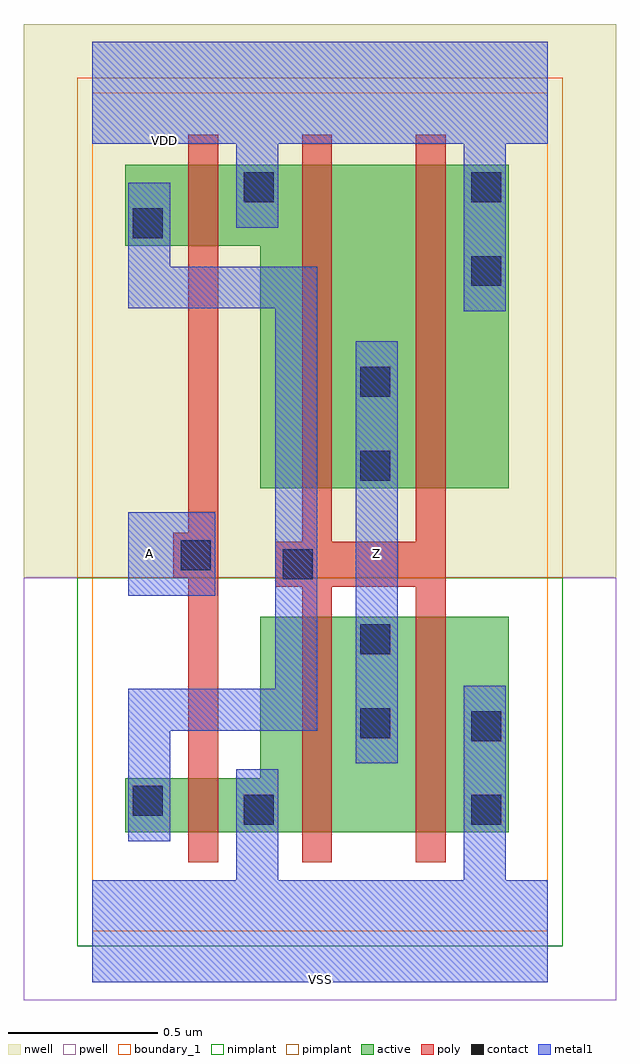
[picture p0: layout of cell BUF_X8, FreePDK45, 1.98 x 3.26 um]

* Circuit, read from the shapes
.subckt BUF_X8 A VDD VSS Z
M1 VSS A n1 VSUBS nfet w=0.18u l=0.1u
M2 Z n1 VSS VSUBS nfet w=0.72u l=0.1u m=2
M3 VDD A n1 n2 pfet w=0.27u l=0.1u
M4 Z n1 VDD n2 pfet w=1.08u l=0.1u m=2
.ends

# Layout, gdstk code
import gdstk
lib = gdstk.Library(unit=1e-6, precision=1e-09)
def R(c, l, rs):  # rectangles x0, y0, x1, y1
    for r in rs: c.add(gdstk.rectangle(r[:2], r[2:], *l))
def P(c, l, *ps):  # polygons
    for p in ps: c.add(gdstk.Polygon(p, *l))
active = (1, 0)
pwell = (2, 0)
nwell = (3, 0)
nimplant = (4, 0)
pimplant = (5, 0)
poly = (9, 0)
contact = (10, 0)
metal1 = (11, 0)
boundary_1 = (235, 1)

buf_x8 = lib.new_cell('BUF_X8')
P(buf_x8, active, [(0.11,2.29),(0.56,2.29),(0.56,1.48),(1.39,1.48),(1.39,2.56),(0.11,2.56)],
  [(0.11,0.33),(1.39,0.33),(1.39,1.05),(0.56,1.05),(0.56,0.51),(0.11,0.51)])
R(buf_x8, pwell, [(-0.23,-0.23,1.75,1.18)])
R(buf_x8, nwell, [(-0.23,1.18,1.75,3.03)])
R(buf_x8, nimplant, [(-0.05,-0.05,1.57,1.18)])
R(buf_x8, pimplant, [(-0.05,1.18,1.57,2.85)])
P(buf_x8, poly, [(0.61,1.15),(0.7,1.15),(0.7,0.23),(0.8,0.23),(0.8,1.15),(1.08,1.15),(1.08,0.23),(1.18,0.23),(1.18,2.66),(1.08,2.66),(1.08,1.3),(0.8,1.3),(0.8,2.66),(0.7,2.66),(0.7,1.3),(0.61,1.3)],
  [(0.27,1.18),(0.32,1.18),(0.32,0.23),(0.42,0.23),(0.42,2.66),(0.32,2.66),(0.32,1.33),(0.27,1.33)])
R(buf_x8, contact, [(0.505,0.355,0.605,0.455), (1.265,0.355,1.365,0.455), (0.135,0.385,0.235,0.485), (1.265,0.635,1.365,0.735), (0.895,0.645,0.995,0.745), (0.895,0.925,0.995,1.025), (0.635,1.175,0.735,1.275), (0.295,1.205,0.395,1.305), (0.895,1.505,0.995,1.605), (0.895,1.785,0.995,1.885), (1.265,2.155,1.365,2.255), (0.135,2.315,0.235,2.415), (0.505,2.435,0.605,2.535), (1.265,2.435,1.365,2.535)])
R(buf_x8, metal1, [(0.88,0.56,1.02,1.97), (0.88,0.56,1.02,1.97), (0.12,1.12,0.41,1.4), (0.12,1.12,0.41,1.4)])
P(buf_x8, metal1, [(0,-0.17),(1.52,-0.17),(1.52,0.17),(1.38,0.17),(1.38,0.82),(1.24,0.82),(1.24,0.17),(0.62,0.17),(0.62,0.54),(0.48,0.54),(0.48,0.17),(0,0.17)],
  [(0,2.63),(0.48,2.63),(0.48,2.35),(0.62,2.35),(0.62,2.63),(1.24,2.63),(1.24,2.07),(1.38,2.07),(1.38,2.63),(1.52,2.63),(1.52,2.97),(0,2.97)],
  [(0,2.63),(0.48,2.63),(0.48,2.35),(0.62,2.35),(0.62,2.63),(1.24,2.63),(1.24,2.07),(1.38,2.07),(1.38,2.63),(1.52,2.63),(1.52,2.97),(0,2.97)],
  [(0,-0.17),(1.52,-0.17),(1.52,0.17),(1.38,0.17),(1.38,0.82),(1.24,0.82),(1.24,0.17),(0.62,0.17),(0.62,0.54),(0.48,0.54),(0.48,0.17),(0,0.17)],
  [(0.12,2.08),(0.61,2.08),(0.61,0.81),(0.12,0.81),(0.12,0.3),(0.26,0.3),(0.26,0.67),(0.75,0.67),(0.75,2.22),(0.26,2.22),(0.26,2.5),(0.12,2.5)])
R(buf_x8, boundary_1, [(0,0,1.52,2.8)])
buf_x8.add(gdstk.Label('Z', (0.95,1.26), layer=11, texttype=0))
buf_x8.add(gdstk.Label('VSS', (0.76,-0.16), layer=11, texttype=0))
buf_x8.add(gdstk.Label('VDD', (0.24,2.64), layer=11, texttype=0))
buf_x8.add(gdstk.Label('A', (0.19,1.26), layer=11, texttype=0))

lib.write_gds('BUF_X8.gds')
